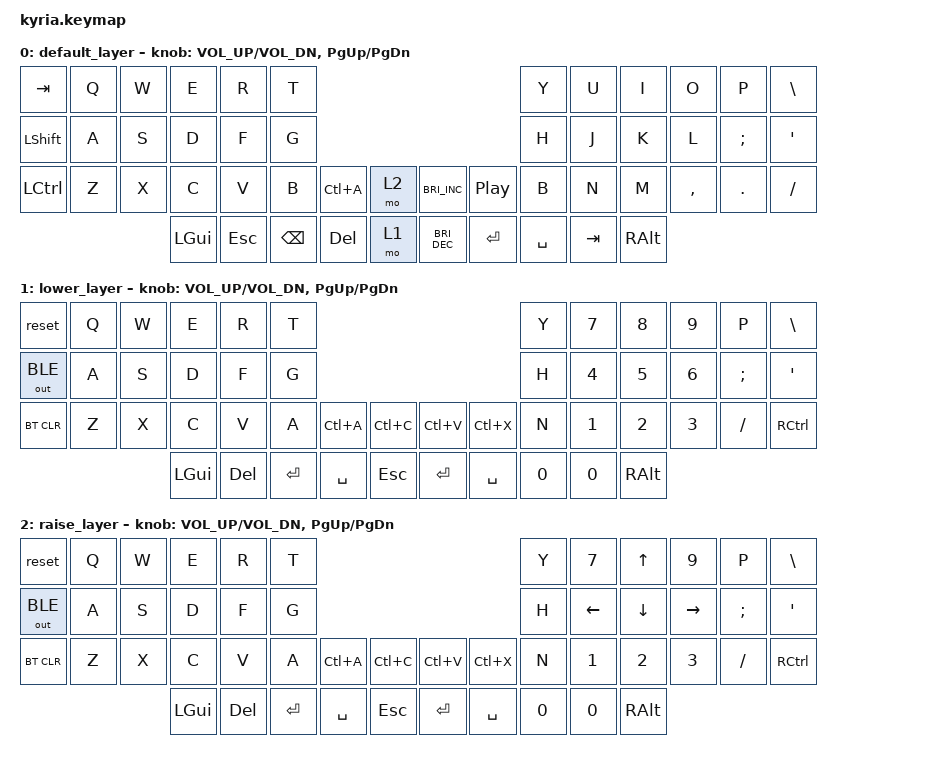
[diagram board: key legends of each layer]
#include <behaviors.dtsi>
#include <dt-bindings/zmk/keys.h>
#include <dt-bindings/zmk/outputs.h>
#include <dt-bindings/zmk/bt.h>

/ {
    keymap {
        compatible = "zmk,keymap";

        default_layer {
            bindings = <
                &kp TAB      &kp Q    &kp W    &kp E     &kp R     &kp T                                                     &kp Y       &kp U     &kp I     &kp O       &kp P       &kp BSLH
                &kp LSHFT    &kp A    &kp S    &kp D     &kp F     &kp G                                                     &kp H       &kp J     &kp K     &kp L       &kp SEMI    &kp SQT
                &kp LCTRL    &kp Z    &kp X    &kp C     &kp V     &kp B     &kp LC(A)  &mo 2      &kp C_BRI_INC   &kp C_PP  &kp B       &kp N     &kp M     &kp COMMA   &kp DOT     &kp FSLH
                                               &kp LGUI  &kp ESC   &kp BSPC  &kp DEL    &mo 1      &kp C_BRI_DEC   &kp RET   &kp SPACE   &kp TAB   &kp RALT
            >;

            sensor-bindings = <&inc_dec_kp C_VOL_UP C_VOL_DN &inc_dec_kp PG_UP PG_DN>;
        };
        lower_layer {
            bindings = <
                &reset          &kp Q    &kp W    &kp E     &kp R     &kp T                                                 &kp Y     &kp N7     &kp N8     &kp N9     &kp P    &kp BSLH
                &out OUT_BLE    &kp A    &kp S    &kp D     &kp F     &kp G                                                 &kp H     &kp N4     &kp N5     &kp N6     &kp SEMI &kp SQT
                &bt BT_CLR      &kp Z    &kp X    &kp C     &kp V     &kp A    &kp LC(A)  &kp LC(C)     &kp LC(V) &kp LC(X) &kp N     &kp N1     &kp N2     &kp N3   &kp FSLH &kp RCTRL
                                                  &kp LGUI  &kp DEL   &kp RET  &kp SPACE  &kp ESC       &kp RET   &kp SPACE &kp N0   &kp N0  &kp RALT
            >;

            sensor-bindings = <&inc_dec_kp C_VOL_UP C_VOL_DN &inc_dec_kp PG_UP PG_DN>;
        };
        raise_layer {
            bindings = <
                &reset          &kp Q    &kp W    &kp E     &kp R     &kp T                                                 &kp Y     &kp N7     &kp UP     &kp N9     &kp P    &kp BSLH
                &out OUT_BLE    &kp A    &kp S    &kp D     &kp F     &kp G                                                 &kp H     &kp LEFT   &kp DOWN   &kp RIGHT     &kp SEMI &kp SQT
                &bt BT_CLR      &kp Z    &kp X    &kp C     &kp V     &kp A    &kp LC(A)  &kp LC(C)     &kp LC(V) &kp LC(X) &kp N     &kp N1     &kp N2     &kp N3   &kp FSLH &kp RCTRL
                                                  &kp LGUI  &kp DEL   &kp RET  &kp SPACE  &kp ESC       &kp RET   &kp SPACE &kp N0   &kp N0  &kp RALT
            >;

            sensor-bindings = <&inc_dec_kp C_VOL_UP C_VOL_DN &inc_dec_kp PG_UP PG_DN>;
        };

    };
};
